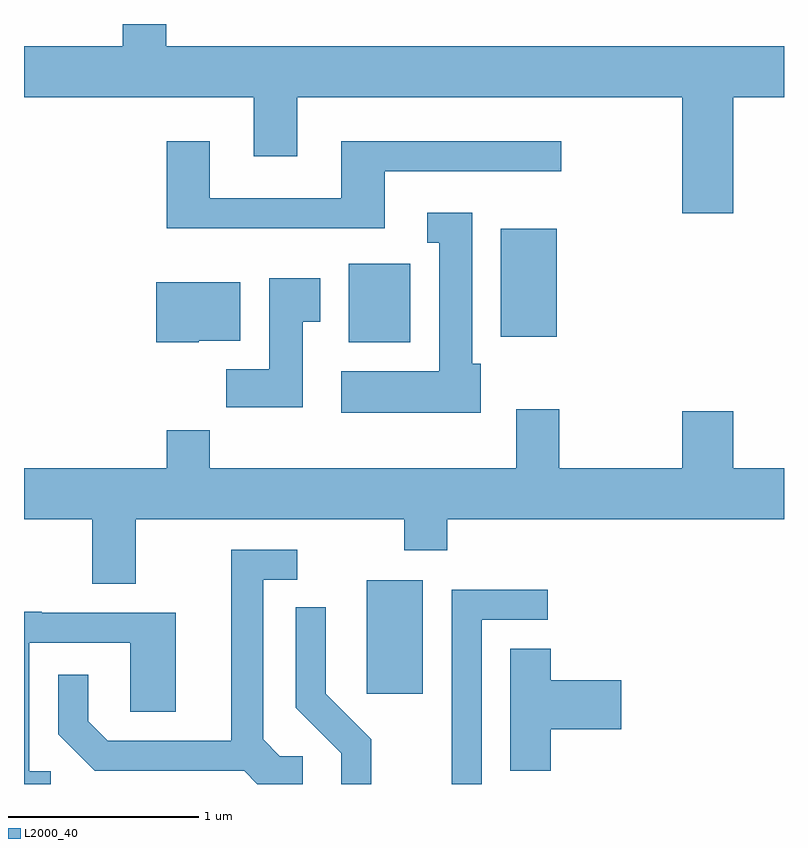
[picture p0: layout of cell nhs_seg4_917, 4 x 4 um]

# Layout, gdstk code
import gdstk
lib = gdstk.Library(unit=1e-6, precision=1e-09)
def R(c, l, rs):  # rectangles x0, y0, x1, y1
    for r in rs: c.add(gdstk.rectangle(r[:2], r[2:], *l))
def P(c, l, *ps):  # polygons
    for p in ps: c.add(gdstk.Polygon(p, *l))
L2000_40 = (2000, 40)

nhs_seg4_917 = lib.new_cell('nhs_seg4_917')
R(nhs_seg4_917, L2000_40, [(213.416,1320.456,213.709,1321.054), (213.321,1322.306,213.644,1322.719), (214.121,1322.336,214.414,1322.904)])
P(nhs_seg4_917, L2000_40, [(215.344,1323.596),(215.611,1323.596),(215.611,1323.864),(212.359,1323.864),(212.359,1323.982),(212.131,1323.982),(212.131,1323.864),(211.611,1323.864),(211.611,1323.596),(212.821,1323.596),(212.821,1323.286),(213.049,1323.286),(213.049,1323.596),(215.076,1323.596),(215.076,1322.986),(215.344,1322.986)],
  [(213.509,1323.206),(214.438,1323.206),(214.438,1323.364),(213.281,1323.364),(213.281,1323.064),(212.589,1323.064),(212.589,1323.364),(212.361,1323.364),(212.361,1322.906),(213.509,1322.906)],
  [(214.014,1322.194),(213.969,1322.194),(213.969,1322.989),(213.733,1322.989),(213.733,1322.831),(213.796,1322.831),(213.796,1322.154),(213.281,1322.154),(213.281,1321.936),(214.014,1321.936)],
  [(213.079,1322.416),(213.169,1322.416),(213.169,1322.644),(212.901,1322.644),(212.901,1322.164),(212.676,1322.164),(212.676,1321.966),(213.079,1321.966)],
  [(212.53,1322.316),(212.749,1322.316),(212.749,1322.624),(212.306,1322.624),(212.306,1322.306),(212.53,1322.306)],
  [(212.199,1321.376),(213.611,1321.376),(213.611,1321.211),(213.839,1321.211),(213.839,1321.376),(215.611,1321.376),(215.611,1321.644),(215.344,1321.644),(215.344,1321.944),(215.076,1321.944),(215.076,1321.644),(214.429,1321.644),(214.429,1321.954),(214.201,1321.954),(214.201,1321.644),(212.589,1321.644),(212.589,1321.844),(212.361,1321.844),(212.361,1321.644),(211.611,1321.644),(211.611,1321.376),(211.971,1321.376),(211.971,1321.036),(212.199,1321.036)],
  [(213.078,1320.129),(212.957,1320.129),(212.869,1320.217),(212.869,1321.056),(213.048,1321.056),(213.048,1321.214),(212.701,1321.214),(212.701,1320.209),(212.052,1320.209),(211.949,1320.312),(211.949,1320.558),(211.791,1320.558),(211.791,1320.244),(211.984,1320.051),(212.769,1320.051),(212.838,1319.982),(213.078,1319.982)],
  [(214.019,1320.846),(214.368,1320.846),(214.368,1321.004),(213.861,1321.004),(213.861,1319.982),(214.019,1319.982)],
  [(213.439,1320.217),(213.199,1320.457),(213.199,1320.913),(213.041,1320.913),(213.041,1320.384),(213.281,1320.144),(213.281,1319.982),(213.439,1319.982)],
  [(211.753,1320.049),(211.639,1320.049),(211.639,1320.726),(212.171,1320.726),(212.171,1320.361),(212.409,1320.361),(212.409,1320.884),(211.705,1320.884),(211.705,1320.889),(211.611,1320.889),(211.611,1319.982),(211.753,1319.982)],
  [(214.384,1320.271),(214.754,1320.271),(214.754,1320.529),(214.384,1320.529),(214.384,1320.694),(214.171,1320.694),(214.171,1320.051),(214.384,1320.051)])

lib.write_gds('nhs_seg4_917.gds')
